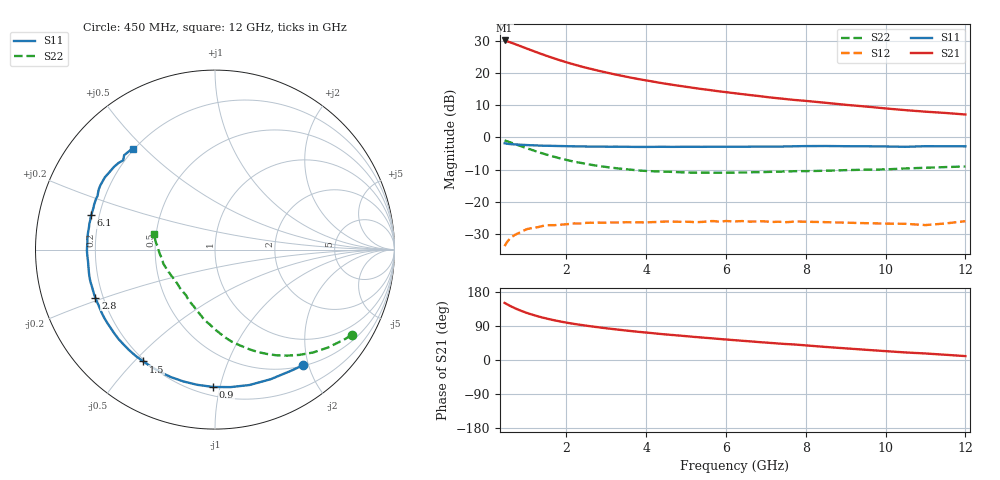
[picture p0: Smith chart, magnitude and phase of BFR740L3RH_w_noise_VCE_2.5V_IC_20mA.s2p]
! (c) 2012  Infineon Technologies AG, Munich
! Infineon Technologies  Discrete & RF Semiconductors
! BFR740L3RH
! VCE =  2.5 V,  IC =  20 mA
! Common Emitter S-Parameters:  May 2012
# GHz  S  MA  R  50
!  f  S11  S21  S12  S22
! GHz  MAG  ANG  MAG  ANG  MAG  ANG  MAG  ANG
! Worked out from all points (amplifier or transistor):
!   85 points, 450 MHz to 12 GHz, reference 50 ohm
!   highest |S21| = 30.2 dB at 450 MHz (marker M1)
!   |S21| within 3 dB of that: start of sweep to 1.108 GHz
!   unconditionally stable (mu >= 1): 6.633 GHz to end of sweep
!   at 1.8 GHz: K = 0.26, MSG = 25.7 dB, |S12| = -27.2 dB
!   at 4.6 GHz: K = 0.68, MSG = 21.3 dB, |S12| = -26.2 dB
!   at 12 GHz: K = 1.93, MAG = 11.1 dB, |S12| = -26.1 dB
!   lowest NFmin = 0.90 dB at 450 MHz
!   S11 on the Smith chart (normalised r, x): 450 MHz: 0.51, -1.91; 900 MHz: 0.26, -0.95; 1.5 GHz: 0.19, -0.53; 2.8 GHz: 0.17, -0.19; 6.1 GHz: 0.17, +0.13; 12 GHz: 0.19, +0.46
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0.45  0.8099 -52.7  32.22 150.6  0.0203 60.4  0.898 -32.1
0.6  0.7859 -66.8  29.98 142.1  0.0274 56.6  0.8332 -40.9
0.7  0.7785 -75.7  28.48 137.1  0.0302 52.1  0.7926 -46.3
0.8  0.771 -83.6  26.96 132.5  0.0324 47.7  0.7526 -51.2
0.9  0.7653 -90.8  25.52 128.4  0.0348 44.6  0.715 -55.7
1  0.7598 -97.4  24.17 124.5  0.0372 41.8  0.6805 -59.9
1.2  0.7517 -108.9  21.72 117.9  0.0393 37.1  0.6176 -67.4
1.3  0.7472 -114.0  20.6 114.8  0.0403 35.7  0.5888 -70.8
1.5  0.7405 -122.7  18.62 109.5  0.0429 32.5  0.5402 -77.0
1.7  0.7366 -130.6  16.89 104.7  0.0431 29.3  0.4987 -82.6
1.9  0.7328 -137.2  15.41 100.5  0.0441 27.6  0.4609 -87.5
2.1  0.727 -142.9  14.13 96.8  0.0452 25.0  0.4317 -91.9
2.4  0.7235 -150.1  12.55 92.1  0.0459 22.5  0.3972 -98.2
2.8  0.7186 -158.1  10.9 86.4  0.0472 19.9  0.3602 -105.2
3.6  0.7127 -170.8  8.541 76.6  0.0478 16.8  0.3151 -118.2
4.3  0.7131 -178.8  7.144 69.3  0.0483 16.8  0.2956 -126.8
5.2  0.7136 172.0  5.877 61.0  0.0481 15.0  0.2826 -138.2
6.1  0.7158 164.5  4.967 53.3  0.0496 14.4  0.2825 -148.0
6.3  0.7155 162.9  4.796 51.6  0.0496 14.6  0.2839 -150.2
8.5  0.7341 146.8  3.452 34.4  0.048 13.4  0.3027 -171.9
10.5  0.7135 135.8  2.653 19.9  0.0452 16.1  0.3286 174.4
12  0.7265 129.2  2.271 10.3  0.0497 24.9  0.3524 166.1
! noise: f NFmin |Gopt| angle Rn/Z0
0.45  0.9  0.05  14  0.11
0.9  0.9  0.05  39  0.11
1.5  0.91  0.07  66  0.1
1.9  0.92  0.09  79  0.11
2.4  0.94  0.11  89  0.11
3.5  1  0.14  106  0.1
5.5  1.13  0.2  130  0.1
8  1.32  0.27  162  0.09
10  1.5  0.31  -166  0.09
12  1.67  0.34  -144  0.12
